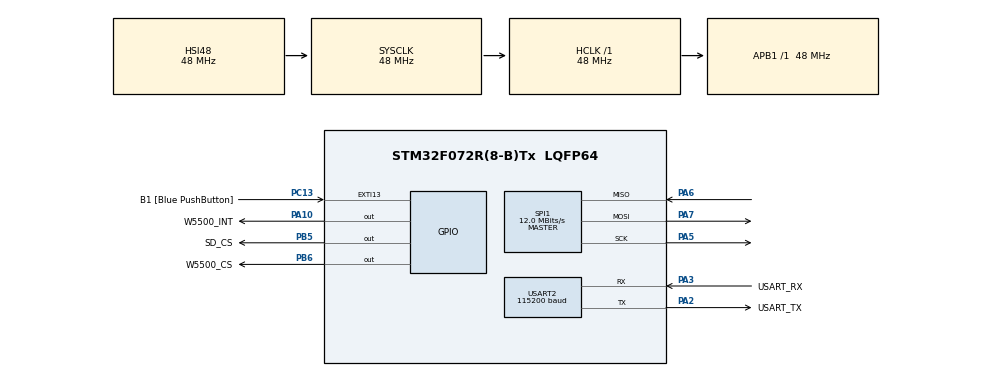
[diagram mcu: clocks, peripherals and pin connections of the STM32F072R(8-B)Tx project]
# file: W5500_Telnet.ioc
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Dma.Request0=SPI1_RX
Dma.Request1=SPI1_TX
Dma.SPI1_RX.0.Direction=DMA_PERIPH_TO_MEMORY
Dma.SPI1_RX.0.Instance=DMA1_Channel2
Dma.SPI1_RX.0.MemDataAlignment=DMA_MDATAALIGN_BYTE
Dma.SPI1_RX.0.MemInc=DMA_MINC_ENABLE
Dma.SPI1_RX.0.Mode=DMA_NORMAL
Dma.SPI1_RX.0.PeriphDataAlignment=DMA_PDATAALIGN_BYTE
Dma.SPI1_RX.0.PeriphInc=DMA_PINC_DISABLE
Dma.SPI1_RX.0.Priority=DMA_PRIORITY_MEDIUM
Dma.SPI1_TX.1.Direction=DMA_MEMORY_TO_PERIPH
Dma.SPI1_TX.1.Instance=DMA1_Channel3
Dma.SPI1_TX.1.MemDataAlignment=DMA_MDATAALIGN_BYTE
Dma.SPI1_TX.1.MemInc=DMA_MINC_ENABLE
Dma.SPI1_TX.1.Mode=DMA_NORMAL
Dma.SPI1_TX.1.PeriphDataAlignment=DMA_PDATAALIGN_BYTE
Dma.SPI1_TX.1.PeriphInc=DMA_PINC_DISABLE
Dma.SPI1_TX.1.Priority=DMA_PRIORITY_HIGH
Mcu.Family=STM32F0
Mcu.Name=STM32F072R(8-B)Tx
Mcu.Package=LQFP64
NVIC.DMA1_Channel2_3_IRQn=true\:0\:0\:false\:false\:true\:false\:true
NVIC.SPI1_IRQn=true\:0\:0\:false\:false\:true\:true\:true
PA10.GPIO_Label=W5500_INT
PA10.Signal=GPIO_Output
PA13.GPIO_Label=TMS
PA13.Mode=Serial_Wire
PA13.Signal=SYS_SWDIO
PA14.GPIO_Label=TCK
PA14.Mode=Serial_Wire
PA14.Signal=SYS_SWCLK
PA2.GPIO_Label=USART_TX
PA2.GPIO_Mode=GPIO_MODE_AF_PP
PA2.GPIO_PuPd=GPIO_NOPULL
PA2.GPIO_Speed=GPIO_SPEED_FREQ_LOW
PA2.Mode=Asynchronous
PA2.Signal=USART2_TX
PA3.GPIO_Label=USART_RX
PA3.GPIO_Mode=GPIO_MODE_AF_PP
PA3.GPIO_PuPd=GPIO_NOPULL
PA3.GPIO_Speed=GPIO_SPEED_FREQ_LOW
PA3.Mode=Asynchronous
PA3.Signal=USART2_RX
PA5.Mode=Full_Duplex_Master
PA5.Signal=SPI1_SCK
PA6.Mode=Full_Duplex_Master
PA6.Signal=SPI1_MISO
PA7.Mode=Full_Duplex_Master
PA7.Signal=SPI1_MOSI
PB5.GPIO_Label=SD_CS
PB5.Signal=GPIO_Output
PB6.GPIO_Label=W5500_CS
PB6.Signal=GPIO_Output
PC13.GPIO_Label=B1 [Blue PushButton]
PC13.GPIO_ModeDefaultEXTI=GPIO_MODE_IT_FALLING
PC13.Signal=GPXTI13
PC14-OSC32_IN.Mode=LSE-External-Oscillator
PC14-OSC32_IN.Signal=RCC_OSC32_IN
PC15-OSC32_OUT.Mode=LSE-External-Oscillator
PC15-OSC32_OUT.Signal=RCC_OSC32_OUT
PF0-OSC_IN.Mode=HSE-External-Oscillator
PF0-OSC_IN.Signal=RCC_OSC_IN
PF1-OSC_OUT.Mode=HSE-External-Oscillator
PF1-OSC_OUT.Signal=RCC_OSC_OUT
ProjectManager.HeapSize=0x200
ProjectManager.StackSize=0x400
ProjectManager.TargetToolchain=Makefile
RCC.AHBFreq_Value=48000000
RCC.APB1Freq_Value=48000000
RCC.APB1TimFreq_Value=48000000
RCC.FLatency-AdvancedSettings=FLASH_LATENCY_1
RCC.HCLKFreq_Value=48000000
RCC.PLLDivider=RCC_PREDIV_DIV2
RCC.PLLMUL=RCC_PLL_MUL12
RCC.PREFETCH_ENABLE-AdvancedSettings=1
RCC.SYSCLKFreq_VALUE=48000000
RCC.SYSCLKSource=RCC_SYSCLKSOURCE_HSI48
SPI1.BaudRatePrescaler=SPI_BAUDRATEPRESCALER_4
SPI1.CalculateBaudRate=12.0 MBits/s
SPI1.DataSize=SPI_DATASIZE_8BIT
SPI1.Direction=SPI_DIRECTION_2LINES
SPI1.Mode=SPI_MODE_MASTER
SPI1.VirtualType=VM_MASTER
USART2.BaudRate=115200
USART2.VirtualMode=VM_ASYNC
USART2.VirtualMode-Asynchronous=VM_ASYNC
board=NUCLEO-F072RB

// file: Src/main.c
/* USER CODE BEGIN Header */
/**
  ******************************************************************************
  * @file           : main.c
  * @brief          : Main program body
  ******************************************************************************
  * @attention
  *
  * Copyright (c) 2022 STMicroelectronics.
  * All rights reserved.
  *
  * This software is licensed under terms that can be found in the LICENSE file
  * in the root directory of this software component.
  * If no LICENSE file comes with this software, it is provided AS-IS.
  *
  ******************************************************************************
  */
/* USER CODE END Header */
#include "main.h"
#include "dma.h"
#include "spi.h"
#include "usart.h"
#include "gpio.h"

/* USER CODE BEGIN Includes */
#include <stdio.h>
#include "ethernet.h"
#include "wizchip_conf.h"
#include "socket.h"
/* USER CODE END Includes */

/* USER CODE BEGIN PD */
#define WELCOME_MSG     "Welcome to the echo chamber!\r\n"
#define SOCKET_NUM      0
#define SOCKET_PORT     3000
#define SOCKET_BUF_SIZE 100
/* USER CODE END PD */

void SystemClock_Config(void);

int main(void)
{
  /* USER CODE BEGIN 1 */
  uint8_t memsize[2][8] = {{2,2,2,2,2,2,2,2},{2,2,2,2,2,2,2,2}};
  uint8_t ip[4];
  uint8_t s     = SOCKET_NUM;
  uint16_t port = SOCKET_PORT;
  char msg[]    = WELCOME_MSG;
  char buf[SOCKET_BUF_SIZE];
  /* USER CODE END 1 */

  /* MCU Configuration--------------------------------------------------------*/

  /* Reset of all peripherals, Initializes the Flash interface and the Systick. */
  HAL_Init();

  /* Configure the system clock */
  SystemClock_Config();

  /* Initialize all configured peripherals */
  MX_GPIO_Init();
  MX_USART2_UART_Init();
  MX_DMA_Init();
  MX_SPI1_Init();
  /* USER CODE BEGIN 2 */
  printf("Started....\r\n");
  ethernet_init(&hspi1, W5500_CS_GPIO_Port, W5500_CS_Pin, (void*)memsize);
  ethernet_dhcpLease();
  getSIPR(ip);
  printf("ready with ip: %d.%d.%d.%d\r\n", ip[0], ip[1], ip[2], ip[3]);

  /* USER CODE END 2 */

  /* Infinite loop */
  /* USER CODE BEGIN WHILE */
  while (1)
  {
    // Listen for raw TCP communications
    // Open socket and bind
    if (socket(s, Sn_MR_TCP, port, 0) != s)
    {
      printf("Failed to open socket\r\n");
      goto error;
    }

    // Listen for connection and accept
    if (listen(s) != SOCK_OK)
    {
      printf("Socket not ok\r\n");
      goto error;
    }

    // Wait for client connection
    while (getSn_SR(s) == SOCK_LISTEN)
      HAL_Delay(100);

    if (getSn_SR(s) != SOCK_ESTABLISHED)
    {
      printf("Socket connection was not established with remote connection\r\n");
      goto error;
    }

    // Greet user
    printf("Connection established!\r\n");
    send(s, (uint8_t*)msg, sizeof(msg));

    // Echo what is sent to this device to serial
    while (getSn_SR(s) == SOCK_ESTABLISHED)
    {
      int32_t ret;
      if ((ret = recv(s, (uint8_t*)buf, 100)) > 0)
      {
        for(uint8_t i = 0;i < ret; i++)
        {
          printf("%c", buf[i]);
        }
      }
    }

    printf("Connection closed\r\n");
error:
    disconnect(s);
    close(s);

    /* USER CODE END WHILE */

  }
}

void SystemClock_Config(void)
{
  RCC_OscInitTypeDef RCC_OscInitStruct = {0};
  RCC_ClkInitTypeDef RCC_ClkInitStruct = {0};
  RCC_PeriphCLKInitTypeDef PeriphClkInit = {0};

  /** Initializes the RCC Oscillators according to the specified parameters
  * in the RCC_OscInitTypeDef structure.
  */
  RCC_OscInitStruct.OscillatorType = RCC_OSCILLATORTYPE_HSI48;
  RCC_OscInitStruct.HSI48State = RCC_HSI48_ON;
  RCC_OscInitStruct.PLL.PLLState = RCC_PLL_NONE;
  if (HAL_RCC_OscConfig(&RCC_OscInitStruct) != HAL_OK)
  {
    Error_Handler();
  }
  /** Initializes the CPU, AHB and APB buses clocks
  */
  RCC_ClkInitStruct.ClockType = RCC_CLOCKTYPE_HCLK|RCC_CLOCKTYPE_SYSCLK
                              |RCC_CLOCKTYPE_PCLK1;
  RCC_ClkInitStruct.SYSCLKSource = RCC_SYSCLKSOURCE_HSI48;
  RCC_ClkInitStruct.AHBCLKDivider = RCC_SYSCLK_DIV1;
  RCC_ClkInitStruct.APB1CLKDivider = RCC_HCLK_DIV1;

  if (HAL_RCC_ClockConfig(&RCC_ClkInitStruct, FLASH_LATENCY_1) != HAL_OK)
  {
    Error_Handler();
  }
  PeriphClkInit.PeriphClockSelection = RCC_PERIPHCLK_USART2;
  PeriphClkInit.Usart2ClockSelection = RCC_USART2CLKSOURCE_PCLK1;
  if (HAL_RCCEx_PeriphCLKConfig(&PeriphClkInit) != HAL_OK)
  {
    Error_Handler();
  }
}

void Error_Handler(void)
{
  __disable_irq();
  while (1)
  {
  }
}
